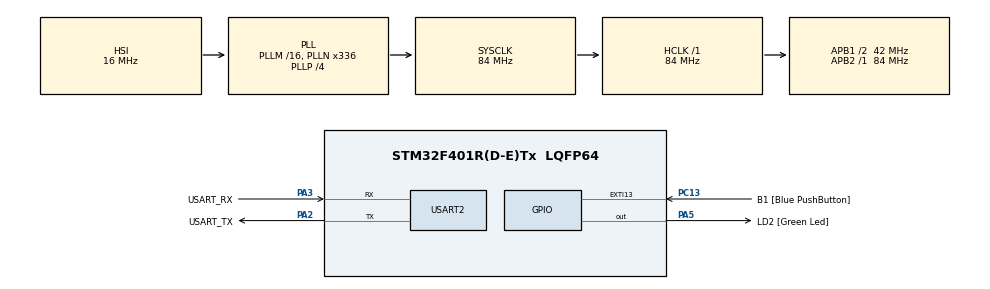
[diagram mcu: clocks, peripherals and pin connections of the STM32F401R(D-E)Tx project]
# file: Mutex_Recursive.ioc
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FREERTOS.RecursiveMutexes01=LEDRecursiveMutex,Dynamic,NULL
FREERTOS.Tasks01=SetLEDThread,0,128,SetLEDThreadFunc,Default,NULL,Dynamic,NULL,NULL;ResetLEDThread,0,128,ResetLEDThreadFunc,Default,NULL,Dynamic,NULL,NULL
FREERTOS.configUSE_COUNTING_SEMAPHORES=0
FREERTOS.configUSE_RECURSIVE_MUTEXES=1
FREERTOS.configUSE_TIMERS=0
Mcu.Family=STM32F4
Mcu.Name=STM32F401R(D-E)Tx
Mcu.Package=LQFP64
NVIC.EXTI15_10_IRQn=true\:5\:0\:false\:false\:true\:true\:true\:true
NVIC.PriorityGroup=NVIC_PRIORITYGROUP_4
NVIC.TIM1_TRG_COM_TIM11_IRQn=true\:0\:0\:false\:false\:true\:false\:false\:true
NVIC.TimeBase=TIM1_TRG_COM_TIM11_IRQn
NVIC.TimeBaseIP=TIM11
PA13.GPIO_Label=TMS
PA13.Mode=Trace_Asynchronous_SW
PA13.Signal=SYS_JTMS-SWDIO
PA14.GPIO_Label=TCK
PA14.Mode=Trace_Asynchronous_SW
PA14.Signal=SYS_JTCK-SWCLK
PA2.GPIO_Label=USART_TX
PA2.GPIO_Mode=GPIO_MODE_AF_PP
PA2.GPIO_PuPd=GPIO_NOPULL
PA2.GPIO_Speed=GPIO_SPEED_FREQ_LOW
PA2.Mode=Asynchronous
PA2.Signal=USART2_TX
PA3.GPIO_Label=USART_RX
PA3.GPIO_Mode=GPIO_MODE_AF_PP
PA3.GPIO_PuPd=GPIO_NOPULL
PA3.GPIO_Speed=GPIO_SPEED_FREQ_LOW
PA3.Mode=Asynchronous
PA3.Signal=USART2_RX
PA5.GPIO_Label=LD2 [Green Led]
PA5.GPIO_Mode=GPIO_MODE_OUTPUT_PP
PA5.GPIO_PuPd=GPIO_NOPULL
PA5.GPIO_Speed=GPIO_SPEED_FREQ_LOW
PA5.Signal=GPIO_Output
PB3.GPIO_Label=SWO
PB3.Mode=Trace_Asynchronous_SW
PB3.Signal=SYS_JTDO-SWO
PC13-ANTI_TAMP.GPIO_Label=B1 [Blue PushButton]
PC13-ANTI_TAMP.GPIO_ModeDefaultEXTI=GPIO_MODE_IT_FALLING
PC13-ANTI_TAMP.GPIO_PuPd=GPIO_NOPULL
PC13-ANTI_TAMP.Signal=GPXTI13
PC14-OSC32_IN.Mode=LSE-External-Oscillator
PC14-OSC32_IN.Signal=RCC_OSC32_IN
PC15-OSC32_OUT.Mode=LSE-External-Oscillator
PC15-OSC32_OUT.Signal=RCC_OSC32_OUT
PH0\ -\ OSC_IN.Mode=HSE-External-Clock-Source
PH0\ -\ OSC_IN.Signal=RCC_OSC_IN
PH1\ -\ OSC_OUT.Mode=HSE-External-Clock-Source
PH1\ -\ OSC_OUT.Signal=RCC_OSC_OUT
ProjectManager.HeapSize=0x200
ProjectManager.StackSize=0x400
ProjectManager.TargetToolchain=STM32CubeIDE
RCC.48MHZClocksFreq_Value=48000000
RCC.AHBFreq_Value=84000000
RCC.APB1CLKDivider=RCC_HCLK_DIV2
RCC.APB1Freq_Value=42000000
RCC.APB1TimFreq_Value=84000000
RCC.APB2Freq_Value=84000000
RCC.APB2TimFreq_Value=84000000
RCC.CortexFreq_Value=84000000
RCC.HCLKFreq_Value=84000000
RCC.HSE_VALUE=8000000
RCC.HSI_VALUE=16000000
RCC.PLLN=336
RCC.PLLP=RCC_PLLP_DIV4
RCC.PLLQ=7
RCC.SYSCLKFreq_VALUE=84000000
RCC.SYSCLKSource=RCC_SYSCLKSOURCE_PLLCLK
RCC.VCOOutputFreq_Value=336000000
USART2.VirtualMode=VM_ASYNC
VP_FREERTOS_VS_CMSIS_V1.Mode=CMSIS_V1
VP_SYS_VS_tim11.Mode=TIM11
board=NUCLEO-F401RE

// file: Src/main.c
/* USER CODE BEGIN Header */
/**
  ******************************************************************************
  * @file           : main.c
  * @brief          : Main program body
  ******************************************************************************
  * @attention
  *
  * <h2><center>&copy; Copyright (c) 2019 STMicroelectronics.
  * All rights reserved.</center></h2>
  *
  * This software component is licensed by ST under BSD 3-Clause license,
  * the "License"; You may not use this file except in compliance with the
  * License. You may obtain a copy of the License at:
  *                        opensource.org/licenses/BSD-3-Clause
  *
  ******************************************************************************
  */
/* USER CODE END Header */

#include "main.h"
#include "cmsis_os.h"

/* USER CODE BEGIN Includes */
#include "stdio.h"
/* USER CODE END Includes */

UART_HandleTypeDef huart2;

osThreadId SetLEDThreadHandle;
osThreadId ResetLEDThreadHandle;
osMutexId LEDRecursiveMutexHandle;

void SystemClock_Config(void);
static void MX_GPIO_Init(void);
static void MX_USART2_UART_Init(void);
void SetLEDThreadFunc(void const * argument);
void ResetLEDThreadFunc(void const * argument);

/* USER CODE BEGIN 0 */
uint32_t interval = 1000;
/* USER CODE END 0 */

int main(void)
{

  /* MCU Configuration--------------------------------------------------------*/

  /* Reset of all peripherals, Initializes the Flash interface and the Systick. */
  HAL_Init();

  /* Configure the system clock */
  SystemClock_Config();

  /* Initialize all configured peripherals */
  MX_GPIO_Init();
  MX_USART2_UART_Init();

  /* Create the recursive mutex(es) */
  /* definition and creation of LEDRecursiveMutex */
  osMutexDef(LEDRecursiveMutex);
  LEDRecursiveMutexHandle = osRecursiveMutexCreate(osMutex(LEDRecursiveMutex));

  /* Create the thread(s) */
  /* definition and creation of SetLEDThread */
  osThreadDef(SetLEDThread, SetLEDThreadFunc, osPriorityNormal, 0, 128);
  SetLEDThreadHandle = osThreadCreate(osThread(SetLEDThread), NULL);

  /* definition and creation of ResetLEDThread */
  osThreadDef(ResetLEDThread, ResetLEDThreadFunc, osPriorityNormal, 0, 128);
  ResetLEDThreadHandle = osThreadCreate(osThread(ResetLEDThread), NULL);

  /* Start scheduler */
  osKernelStart();

  /* We should never get here as control is now taken by the scheduler */

  /* Infinite loop */
  while (1)
  {

  }
}

void SystemClock_Config(void)
{
  RCC_OscInitTypeDef RCC_OscInitStruct = {0};
  RCC_ClkInitTypeDef RCC_ClkInitStruct = {0};

  /** Configure the main internal regulator output voltage
  */
  __HAL_RCC_PWR_CLK_ENABLE();
  __HAL_PWR_VOLTAGESCALING_CONFIG(PWR_REGULATOR_VOLTAGE_SCALE2);
  /** Initializes the CPU, AHB and APB busses clocks
  */
  RCC_OscInitStruct.OscillatorType = RCC_OSCILLATORTYPE_HSI;
  RCC_OscInitStruct.HSIState = RCC_HSI_ON;
  RCC_OscInitStruct.HSICalibrationValue = RCC_HSICALIBRATION_DEFAULT;
  RCC_OscInitStruct.PLL.PLLState = RCC_PLL_ON;
  RCC_OscInitStruct.PLL.PLLSource = RCC_PLLSOURCE_HSI;
  RCC_OscInitStruct.PLL.PLLM = 16;
  RCC_OscInitStruct.PLL.PLLN = 336;
  RCC_OscInitStruct.PLL.PLLP = RCC_PLLP_DIV4;
  RCC_OscInitStruct.PLL.PLLQ = 7;
  if (HAL_RCC_OscConfig(&RCC_OscInitStruct) != HAL_OK)
  {
    Error_Handler();
  }
  /** Initializes the CPU, AHB and APB busses clocks
  */
  RCC_ClkInitStruct.ClockType = RCC_CLOCKTYPE_HCLK|RCC_CLOCKTYPE_SYSCLK
                              |RCC_CLOCKTYPE_PCLK1|RCC_CLOCKTYPE_PCLK2;
  RCC_ClkInitStruct.SYSCLKSource = RCC_SYSCLKSOURCE_PLLCLK;
  RCC_ClkInitStruct.AHBCLKDivider = RCC_SYSCLK_DIV1;
  RCC_ClkInitStruct.APB1CLKDivider = RCC_HCLK_DIV2;
  RCC_ClkInitStruct.APB2CLKDivider = RCC_HCLK_DIV1;

  if (HAL_RCC_ClockConfig(&RCC_ClkInitStruct, FLASH_LATENCY_2) != HAL_OK)
  {
    Error_Handler();
  }
}

static void MX_USART2_UART_Init(void)
{

  huart2.Instance = USART2;
  huart2.Init.BaudRate = 115200;
  huart2.Init.WordLength = UART_WORDLENGTH_8B;
  huart2.Init.StopBits = UART_STOPBITS_1;
  huart2.Init.Parity = UART_PARITY_NONE;
  huart2.Init.Mode = UART_MODE_TX_RX;
  huart2.Init.HwFlowCtl = UART_HWCONTROL_NONE;
  huart2.Init.OverSampling = UART_OVERSAMPLING_16;
  if (HAL_UART_Init(&huart2) != HAL_OK)
  {
    Error_Handler();
  }

}

static void MX_GPIO_Init(void)
{
  GPIO_InitTypeDef GPIO_InitStruct = {0};

  /* GPIO Ports Clock Enable */
  __HAL_RCC_GPIOC_CLK_ENABLE();
  __HAL_RCC_GPIOH_CLK_ENABLE();
  __HAL_RCC_GPIOA_CLK_ENABLE();
  __HAL_RCC_GPIOB_CLK_ENABLE();

  /*Configure GPIO pin Output Level */
  HAL_GPIO_WritePin(LD2_GPIO_Port, LD2_Pin, GPIO_PIN_RESET);

  /*Configure GPIO pin : B1_Pin */
  GPIO_InitStruct.Pin = B1_Pin;
  GPIO_InitStruct.Mode = GPIO_MODE_IT_FALLING;
  GPIO_InitStruct.Pull = GPIO_NOPULL;
  HAL_GPIO_Init(B1_GPIO_Port, &GPIO_InitStruct);

  /*Configure GPIO pin : LD2_Pin */
  GPIO_InitStruct.Pin = LD2_Pin;
  GPIO_InitStruct.Mode = GPIO_MODE_OUTPUT_PP;
  GPIO_InitStruct.Pull = GPIO_NOPULL;
  GPIO_InitStruct.Speed = GPIO_SPEED_FREQ_LOW;
  HAL_GPIO_Init(LD2_GPIO_Port, &GPIO_InitStruct);

  /* EXTI interrupt init*/
  HAL_NVIC_SetPriority(EXTI15_10_IRQn, 5, 0);
  HAL_NVIC_EnableIRQ(EXTI15_10_IRQn);

}

void SetLEDThreadFunc(void const * argument)
{

  /* USER CODE BEGIN 5 */
  /* Infinite loop */
  for(;;)
  {
    if (osRecursiveMutexWait(LEDRecursiveMutexHandle, osWaitForever) == osOK
        && osRecursiveMutexWait(LEDRecursiveMutexHandle, osWaitForever) == osOK) {
      HAL_GPIO_WritePin(LD2_GPIO_Port, LD2_Pin, GPIO_PIN_SET);
      osDelay(1000);
      osRecursiveMutexRelease(LEDRecursiveMutexHandle);
      osRecursiveMutexRelease(LEDRecursiveMutexHandle);
      osThreadYield();
    }
  }
  /* USER CODE END 5 */
}

void ResetLEDThreadFunc(void const * argument)
{
  /* USER CODE BEGIN ResetLEDThreadFunc */
  /* Infinite loop */
  for(;;)
  {
    if (osRecursiveMutexWait(LEDRecursiveMutexHandle, osWaitForever) == osOK
        && osRecursiveMutexWait(LEDRecursiveMutexHandle, osWaitForever) == osOK) {
      HAL_GPIO_WritePin(LD2_GPIO_Port, LD2_Pin, GPIO_PIN_RESET);
      osDelay(1000);
      osRecursiveMutexRelease(LEDRecursiveMutexHandle);
      osRecursiveMutexRelease(LEDRecursiveMutexHandle);
      osThreadYield();
    }
  }
  /* USER CODE END ResetLEDThreadFunc */
}

void HAL_TIM_PeriodElapsedCallback(TIM_HandleTypeDef *htim)
{
  if (htim->Instance == TIM11) {
    HAL_IncTick();
  }
}

void Error_Handler(void)
{
}

/************************ (C) COPYRIGHT STMicroelectronics *****END OF FILE****/
